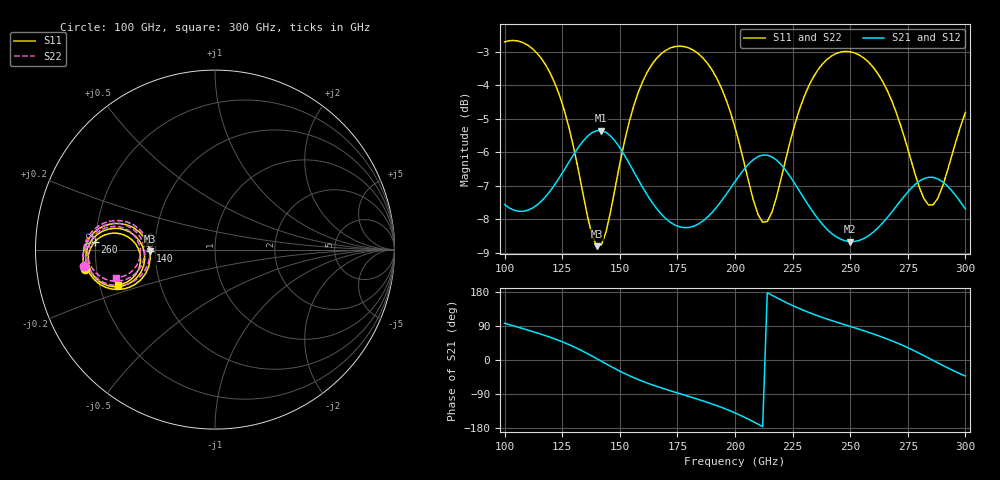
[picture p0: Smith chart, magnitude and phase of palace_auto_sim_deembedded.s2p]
! Created with skrf 1.11.0 (http://scikit-rf.org).
# GHz S DB R 50.0
!freq dBS11 angS11 dBS21 angS21 dBS12 angS12 dBS22 angS22
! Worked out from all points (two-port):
!   101 points, 100 GHz to 300 GHz, reference 50 ohm
!   highest |S21| = -5.35 dB at 142 GHz (marker M1); lowest = -8.7 dB at 250 GHz (marker M2)
!   |S21| within 3 dB of the highest: start of sweep to 240.7 GHz; 260.6 GHz to end of sweep
!   lowest |S11| = -8.8 dB at 140 GHz (marker M3), VSWR 2.14, Z = 23.4 - j0.462 ohm
!   |S11| at or under -10 dB: nowhere
!   |S22| runs from -8.8 to -2.7 dB; largest |S21 - S12| = 5.7e-14
!   S11 on the Smith chart (normalised r, x): 100 GHz: 0.15, -0.07; 140 GHz: 0.47, -0.01; 260 GHz: 0.20, +0.03; 300 GHz: 0.28, -0.16
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100  -2.70 -171.6  -7.56 97.0  -7.56 97.0  -2.70 -173.0
112  -2.89 176.9  -7.67 75.4  -7.67 75.4  -2.89 175.4
122  -3.96 168.1  -6.94 55.1  -6.94 55.1  -3.96 166.4
134  -7.23 166.7  -5.67 23.0  -5.67 23.0  -7.21 164.9
140  -8.81 -178.6  -5.35 3.4  -5.35 3.4  -8.78 179.4
142  -8.77 -171.8  -5.35 -3.4  -5.35 -3.4  -8.74 -173.8
148  -7.06 -158.0  -5.67 -23.2  -5.67 -23.2  -7.04 -160.2
154  -5.11 -156.7  -6.32 -41.1  -6.32 -41.1  -5.11 -159.0
168  -3.05 -167.9  -7.85 -73.6  -7.85 -73.6  -3.05 -170.3
184  -3.04 178.0  -8.15 -103.8  -8.15 -103.8  -3.05 175.3
200  -5.25 167.6  -6.87 -139.6  -6.87 -139.6  -5.27 164.7
208  -7.44 173.2  -6.21 -163.0  -6.21 -163.0  -7.46 170.2
214  -8.07 -172.2  -6.08 177.6  -6.08 177.6  -8.10 -175.2
224  -5.66 -158.4  -6.73 146.4  -6.73 146.4  -5.68 -161.5
234  -3.75 -162.9  -7.80 121.0  -7.80 121.0  -3.76 -166.1
250  -2.99 -175.8  -8.67 88.6  -8.67 88.6  -3.00 -179.4
260  -3.46 176.4  -8.39 68.8  -8.39 68.8  -3.46 172.7
268  -4.45 171.5  -7.79 50.9  -7.79 50.9  -4.46 167.7
276  -6.14 171.5  -7.11 29.6  -7.11 29.6  -6.16 167.6
284  -7.57 -176.6  -6.75 5.2  -6.75 5.2  -7.60 179.4
290  -7.03 -164.7  -6.87 -13.7  -6.87 -13.7  -7.06 -168.7
300  -4.81 -160.0  -7.69 -42.4  -7.69 -42.4  -4.82 -164.1
